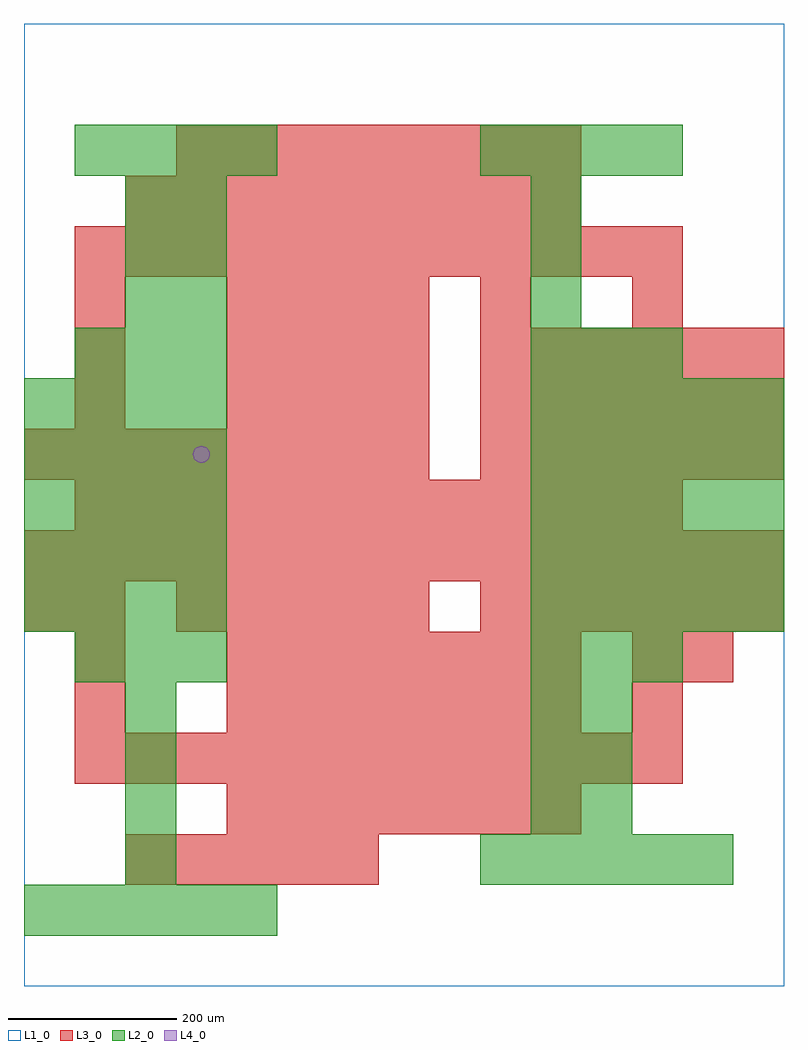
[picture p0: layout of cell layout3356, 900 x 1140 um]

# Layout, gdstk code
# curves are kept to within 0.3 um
import gdstk
lib = gdstk.Library(unit=1e-6, precision=1e-09)
def R(c, l, rs):  # rectangles x0, y0, x1, y1
    for r in rs: c.add(gdstk.rectangle(r[:2], r[2:], *l))
def A(c, l, x, y, w, h, nx, ny, dx, dy):  # array of equal rectangles
    R(c, l, [(x+i*dx, y+j*dy, x+i*dx+w, y+j*dy+h) for i in range(nx) for j in range(ny)])
def P(c, l, *ps):  # polygons
    for p in ps: c.add(gdstk.Polygon(p, *l))
L1_0 = (1, 0)
L2_0 = (2, 0)
L3_0 = (3, 0)
L4_0 = (4, 0)

layout3356 = lib.new_cell('layout3356')
R(layout3356, L1_0, [(0,0,900,1140)])
A(layout3356, L2_0, 0, 60, 60, 60, 5, 1, 60, 0)
A(layout3356, L2_0, 120, 120, 60, 60, 1, 4, 0, 60)
A(layout3356, L2_0, 540, 120, 60, 60, 5, 1, 60, 0)
A(layout3356, L2_0, 600, 180, 60, 60, 1, 3, 0, 60)
A(layout3356, L2_0, 660, 180, 60, 60, 1, 3, 0, 60)
A(layout3356, L2_0, 60, 360, 60, 60, 3, 2, 60, 360)
A(layout3356, L2_0, 600, 360, 60, 60, 3, 2, 60, 360)
A(layout3356, L2_0, 0, 420, 60, 60, 4, 5, 60, 60)
A(layout3356, L2_0, 600, 420, 60, 60, 5, 5, 60, 60)
A(layout3356, L2_0, 120, 780, 60, 60, 1, 3, 0, 60)
A(layout3356, L2_0, 180, 780, 60, 60, 1, 3, 0, 60)
A(layout3356, L2_0, 600, 780, 60, 60, 1, 3, 0, 60)
A(layout3356, L2_0, 60, 960, 60, 60, 4, 1, 60, 0)
A(layout3356, L2_0, 540, 960, 60, 60, 4, 1, 60, 0)
A(layout3356, L3_0, 120, 120, 60, 60, 5, 1, 60, 0)
A(layout3356, L3_0, 240, 180, 60, 60, 7, 2, 60, 120)
A(layout3356, L3_0, 60, 240, 60, 60, 12, 3, 60, 300)
A(layout3356, L3_0, 60, 300, 60, 60, 1, 3, 0, 60)
A(layout3356, L3_0, 240, 360, 60, 60, 7, 1, 60, 0)
A(layout3356, L3_0, 180, 420, 60, 60, 5, 1, 60, 0)
A(layout3356, L3_0, 540, 420, 60, 60, 6, 2, 60, 180)
A(layout3356, L3_0, 0, 480, 60, 60, 15, 1, 60, 0)
A(layout3356, L3_0, 0, 600, 60, 60, 8, 1, 60, 0)
A(layout3356, L3_0, 60, 660, 60, 60, 1, 3, 0, 60)
A(layout3356, L3_0, 240, 660, 60, 60, 4, 3, 60, 60)
A(layout3356, L3_0, 540, 660, 60, 60, 6, 2, 60, 60)
A(layout3356, L3_0, 120, 900, 60, 60, 9, 1, 60, 0)
A(layout3356, L3_0, 180, 960, 60, 60, 8, 1, 60, 0)
R(layout3356, L3_0, [(720,300,780,360), (720,360,780,420), (780,360,840,420), (0,420,60,480), (540,780,600,840), (720,780,780,840)])
P(layout3356, L4_0, [(220,630),(219.239,633.827),(217.071,637.071),(213.827,639.239),(210,640),(206.173,639.239),(202.929,637.071),(200.761,633.827),(200,630),(200.761,626.173),(202.929,622.929),(206.173,620.761),(210,620),(213.827,620.761),(217.071,622.929),(219.239,626.173)])

lib.write_gds('layout3356.gds')
